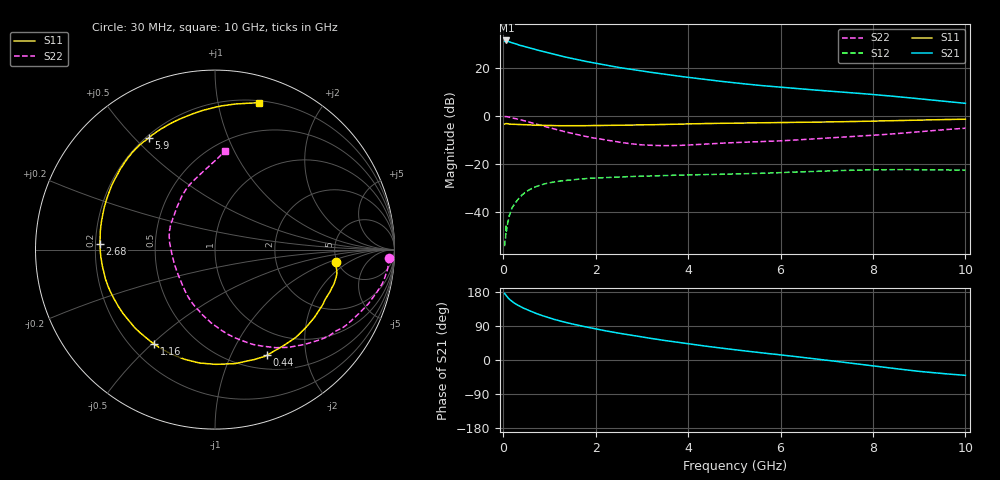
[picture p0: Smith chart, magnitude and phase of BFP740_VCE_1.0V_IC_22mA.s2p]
! Infineon Technologies  Discrete & RF Semiconductors
! BFP740
! VCE =  1.0 V,  IC =  22 mA
! Common Emitter S-Parameters:  Jan 2016
# GHz  S  MA  R  50
!  f  S11  S21  S12  S22
! GHz  MAG  ANG  MAG  ANG  MAG  ANG  MAG  ANG
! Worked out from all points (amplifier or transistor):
!   229 points, 30 MHz to 10 GHz, reference 50 ohm
!   highest |S21| = 31.5 dB at 70 MHz (marker M1)
!   |S21| within 3 dB of that: start of sweep to 551.1 MHz
!   unconditionally stable (mu >= 1): 5.331 GHz to end of sweep
!   at 280 MHz: K = 0.21, MSG = 32.9 dB, |S12| = -35.8 dB
!   at 1.78 GHz: K = 0.49, MSG = 24.5 dB, |S12| = -26.2 dB
!   at 10 GHz: K = 1.12, MAG = 11.9 dB, |S12| = -22.7 dB
!   S11 on the Smith chart (normalised r, x): 30 MHz: 4.86, -1.20; 440 MHz: 0.67, -1.39; 1.16 GHz: 0.29, -0.51; 2.68 GHz: 0.22, +0.02; 5.9 GHz: 0.21, +0.55; 10 GHz: 0.22, +1.32
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0.03  0.6758 -5.7  36.12 175.6  0.0019 77.6  0.9698 -2.7
0.05  0.6872 -9.4  37.3 172.5  0.0026 72.9  0.9687 -5.0
0.07  0.6922 -12.9  37.69 169.0  0.0039 85.4  0.9658 -7.1
0.11  0.6822 -20.2  35.96 163.2  0.0065 85.0  0.9522 -11.3
0.2  0.6706 -34.3  33.5 153.5  0.0124 76.4  0.9074 -19.3
0.3  0.6648 -47.4  31.43 145.7  0.0172 70.2  0.8605 -26.8
0.36  0.6566 -55.2  29.77 141.7  0.02 66.5  0.834 -31.4
0.44  0.6558 -63.7  28.63 136.9  0.0237 62.5  0.7986 -36.7
0.6  0.6451 -80.0  25.98 128.5  0.0299 55.1  0.7245 -46.9
0.78  0.637 -96.2  23.21 119.9  0.0352 48.1  0.6504 -57.1
1  0.6313 -112.5  20.48 111.1  0.0401 41.0  0.5669 -68.5
1.16  0.6254 -122.8  18.73 105.4  0.0426 36.9  0.5138 -75.7
1.4  0.6239 -135.8  16.54 97.8  0.0455 32.1  0.4513 -85.4
1.7  0.6245 -149.6  14.35 89.6  0.0482 27.2  0.3874 -96.9
2.1  0.6319 -165.0  12.05 79.6  0.0509 22.3  0.3274 -111.9
2.68  0.6419 177.0  9.661 67.1  0.0539 17.5  0.2683 -132.6
3.4  0.6609 158.9  7.63 53.2  0.0565 12.6  0.2398 -160.6
5.1  0.7119 129.3  4.806 25.8  0.0615 4.4  0.2798 153.6
5.9  0.7245 120.6  4.045 14.9  0.0648 1.8  0.2982 139.7
6.8  0.7428 110.6  3.439 2.3  0.0697 -2.9  0.3329 126.4
8.4  0.7947 89.5  2.592 -21.5  0.0754 -14.3  0.4191 103.1
10  0.8538 73.3  1.831 -40.5  0.0735 -23.3  0.553 84.5
